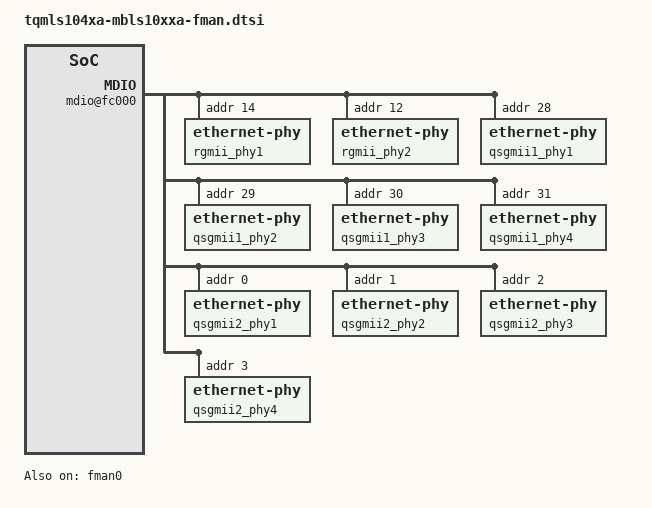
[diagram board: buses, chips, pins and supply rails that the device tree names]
// SPDX-License-Identifier: (GPL-2.0-or-later OR MIT)
/*
 * Copyright (c) 2019,2023 TQ-Systems GmbH <linux@ew.tq-group.com>,
 * D-82229 Seefeld, Germany.
 * Author: Gregor Herburger, Timo Herbrecher
 *
 * Device Tree Include file for MBLS10xxA from TQ (FMAN related sections)
 */

#include <dt-bindings/net/ti-dp83867.h>

&fman0 {
	status = "okay";

	ethernet@e0000 { /* EMAC.1 */
		phy-connection-type = "sgmii";
		status = "disabled";
	};

	ethernet@e2000 { /* EMAC.2 */
		phy-connection-type = "sgmii";
		status = "disabled";
	};

	ethernet@e4000 { /* EMAC.3 */
		phy-handle = <&rgmii_phy1>;
		phy-connection-type = "rgmii";
		phy-mode = "rgmii-id";
	};

	ethernet@e6000 { /* EMAC.4 */
		phy-handle = <&rgmii_phy2>;
		phy-connection-type = "rgmii";
		phy-mode = "rgmii-id";
	};

	ethernet@e8000 { /* EMAC.5 */
		phy-connection-type = "sgmii";
		status = "disabled";
	};

	ethernet@ea000 { /* EMAC.6 */
		phy-connection-type = "sgmii";
		status = "disabled";
	};

	ethernet@f0000 { /* EMAC.9 */
		phy-connection-type = "sgmii";
		status = "disabled";
	};

	ethernet@f2000 { /* EMAC.10 */
		phy-connection-type = "sgmii";
		status = "disabled";
	};

	mdio@fc000 {
		rgmii_phy1: ethernet-phy@e {
			reg = <0x0e>;
			ti,rx-internal-delay = <DP83867_RGMIIDCTL_1_50_NS>;
			ti,tx-internal-delay = <DP83867_RGMIIDCTL_1_50_NS>;
			ti,fifo-depth = <DP83867_PHYCR_FIFO_DEPTH_8_B_NIB>;
		};

		rgmii_phy2: ethernet-phy@c {
			reg = <0x0c>;
			ti,rx-internal-delay = <DP83867_RGMIIDCTL_1_50_NS>;
			ti,tx-internal-delay = <DP83867_RGMIIDCTL_1_50_NS>;
			ti,fifo-depth = <DP83867_PHYCR_FIFO_DEPTH_8_B_NIB>;
		};

		qsgmii1_phy1: ethernet-phy@1c {
			reg = <0x1c>;
		};

		qsgmii1_phy2: ethernet-phy@1d {
			reg = <0x1d>;
		};

		qsgmii1_phy3: ethernet-phy@1e {
			reg = <0x1e>;
		};

		qsgmii1_phy4: ethernet-phy@1f {
			reg = <0x1f>;
		};

		qsgmii2_phy1: ethernet-phy@0 {
			reg = <0x00>;
		};

		qsgmii2_phy2: ethernet-phy@1 {
			reg = <0x01>;
		};

		qsgmii2_phy3: ethernet-phy@2 {
			reg = <0x02>;
		};

		qsgmii2_phy4: ethernet-phy@3 {
			reg = <0x03>;
		};
	};
};
